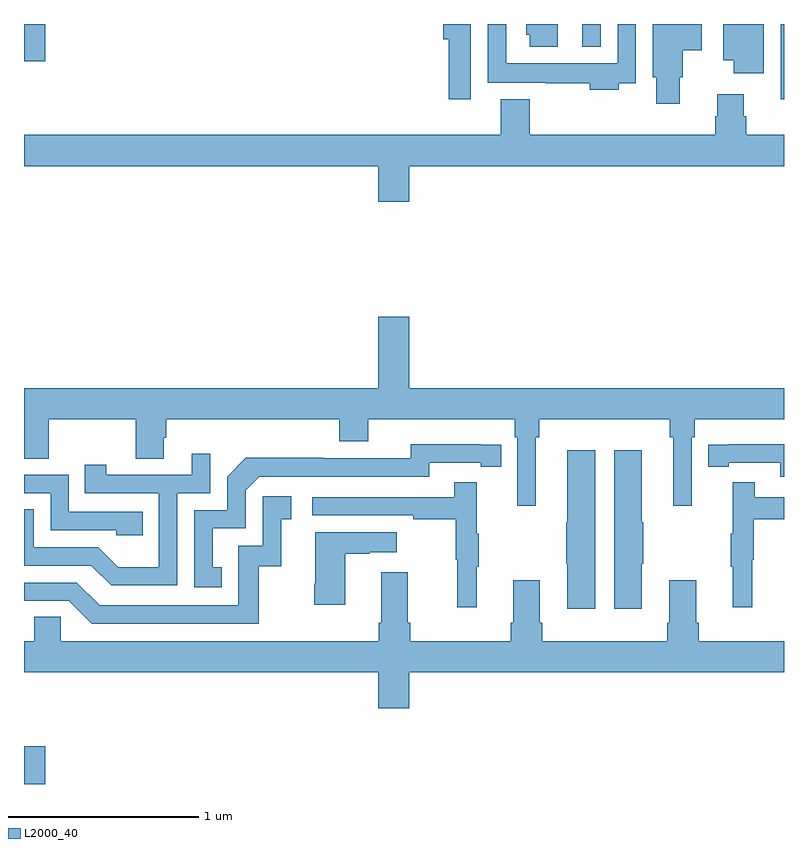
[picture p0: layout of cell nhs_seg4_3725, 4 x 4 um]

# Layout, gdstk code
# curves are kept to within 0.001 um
import gdstk
lib = gdstk.Library(unit=1e-6, precision=1e-09)
def R(c, l, rs):  # rectangles x0, y0, x1, y1
    for r in rs: c.add(gdstk.rectangle(r[:2], r[2:], *l))
def P(c, l, *ps):  # polygons
    for p in ps: c.add(gdstk.Polygon(p, *l))
L2000_40 = (2000, 40)

nhs_seg4_3725 = lib.new_cell('nhs_seg4_3725')
R(nhs_seg4_3725, L2000_40, [(307,794.9,307.112,795.1), (310.983,798.504,311,798.9), (307,798.705,307.112,798.9), (309.938,798.779,310.035,798.9)])
P(nhs_seg4_3725, L2000_40, [(310.129,798.588),(310.221,798.588),(310.221,798.9),(310.125,798.9),(310.125,798.694),(309.537,798.694),(309.537,798.9),(309.441,798.9),(309.441,798.59),(309.745,798.59),(309.745,798.588),(309.977,798.588),(309.977,798.554),(310.129,798.554)],
  [(309.808,798.9),(309.644,798.9),(309.644,798.843),(309.662,798.843),(309.662,798.78),(309.808,798.78)],
  [(310.894,798.9),(310.679,798.9),(310.679,798.71),(310.736,798.71),(310.736,798.642),(310.894,798.642)],
  [(309.351,798.9),(309.206,798.9),(309.206,798.821),(309.235,798.821),(309.235,798.504),(309.351,798.504)],
  [(310.45,798.621),(310.468,798.621),(310.468,798.763),(310.567,798.763),(310.567,798.9),(310.31,798.9),(310.31,798.621),(310.328,798.621),(310.328,798.48),(310.45,798.48)],
  [(311,798.316),(310.802,798.316),(310.802,798.414),(310.789,798.414),(310.789,798.529),(310.649,798.529),(310.649,798.414),(310.637,798.414),(310.637,798.316),(309.662,798.316),(309.662,798.505),(309.509,798.505),(309.509,798.316),(307,798.316),(307,798.152),(308.864,798.152),(308.864,797.964),(309.028,797.964),(309.028,798.152),(311,798.152)],
  [(309.694,796.724),(309.713,796.724),(309.713,796.82),(310.399,796.82),(310.399,796.724),(310.418,796.724),(310.418,796.365),(310.515,796.365),(310.515,796.724),(310.529,796.724),(310.529,796.82),(311,796.82),(311,796.984),(309.028,796.984),(309.028,797.359),(308.864,797.359),(308.864,796.984),(307,796.984),(307,796.612),(307.131,796.612),(307.131,796.82),(307.588,796.82),(307.588,796.612),(307.735,796.612),(307.735,796.722),(307.748,796.722),(307.748,796.82),(308.66,796.82),(308.66,796.703),(308.812,796.703),(308.812,796.82),(309.584,796.82),(309.584,796.724),(309.597,796.724),(309.597,796.365),(309.694,796.365)],
  [(311,796.687),(310.708,796.687),(310.708,796.686),(310.6,796.686),(310.6,796.57),(310.708,796.57),(310.708,796.59),(310.98,796.59),(310.98,796.518),(311,796.518)],
  [(308.042,796.041),(307.993,796.041),(307.993,796.245),(308.166,796.245),(308.166,796.446),(308.238,796.518),(309.132,796.518),(309.132,796.59),(309.404,796.59),(309.404,796.57),(309.512,796.57),(309.512,796.686),(309.036,796.687),(309.036,796.614),(308.576,796.614),(308.576,796.616),(308.168,796.616),(308.07,796.518),(308.07,796.341),(307.896,796.341),(307.896,795.936),(308.042,795.936)],
  [(310.006,796.657),(309.86,796.657),(309.86,796.277),(309.853,796.277),(309.853,796.06),(309.86,796.06),(309.86,795.822),(310.006,795.822)],
  [(310.252,796.06),(310.26,796.06),(310.26,796.277),(310.252,796.277),(310.252,796.657),(310.106,796.657),(310.106,795.822),(310.252,795.822)],
  [(307.806,796.431),(307.98,796.431),(307.98,796.639),(307.883,796.639),(307.883,796.527),(307.432,796.527),(307.432,796.579),(307.321,796.579),(307.321,796.431),(307.71,796.431),(307.71,796.042),(307.496,796.042),(307.392,796.146),(307.05,796.146),(307.05,796.345),(307,796.345),(307,796.05),(307.355,796.05),(307.46,795.945),(307.806,795.945)],
  [(307.625,796.332),(307.236,796.332),(307.236,796.527),(307,796.527),(307,796.431),(307.14,796.431),(307.14,796.236),(307.485,796.236),(307.485,796.209),(307.625,796.209)],
  [(310.832,796.08),(310.84,796.08),(310.84,796.294),(311,796.294),(311,796.41),(310.847,796.41),(310.847,796.489),(310.73,796.489),(310.73,796.217),(310.719,796.217),(310.719,796.043),(310.73,796.043),(310.73,795.831),(310.832,795.831)],
  [(309.383,796.043),(309.394,796.043),(309.394,796.217),(309.383,796.217),(309.383,796.489),(309.265,796.489),(309.265,796.41),(308.517,796.41),(308.517,796.314),(309.049,796.314),(309.049,796.294),(309.273,796.294),(309.273,796.08),(309.28,796.08),(309.28,795.831),(309.383,795.831)],
  [(308.236,796.047),(308.354,796.047),(308.354,796.293),(308.407,796.293),(308.407,796.414),(308.256,796.414),(308.256,796.155),(308.127,796.155),(308.127,795.84),(307.398,795.84),(307.278,795.96),(307,795.96),(307,795.864),(307.236,795.864),(307.356,795.744),(308.236,795.744)],
  [(308.692,796.111),(308.819,796.111),(308.819,796.121),(308.962,796.121),(308.962,796.225),(308.534,796.225),(308.534,795.955),(308.527,795.955),(308.527,795.843),(308.692,795.843)],
  [(309.028,795.488),(311,795.488),(311,795.652),(310.55,795.652),(310.55,795.748),(310.537,795.748),(310.537,795.973),(310.397,795.973),(310.397,795.748),(310.385,795.748),(310.385,795.652),(309.728,795.652),(309.728,795.748),(309.715,795.748),(309.715,795.973),(309.575,795.973),(309.575,795.748),(309.563,795.748),(309.563,795.652),(309.032,795.652),(309.032,795.748),(309.019,795.748),(309.019,796.015),(308.879,796.015),(308.879,795.748),(308.867,795.748),(308.867,795.652),(307.194,795.652),(307.194,795.779),(307.055,795.779),(307.055,795.652),(307,795.652),(307,795.488),(308.864,795.488),(308.864,795.3),(309.028,795.3)])

lib.write_gds('nhs_seg4_3725.gds')
